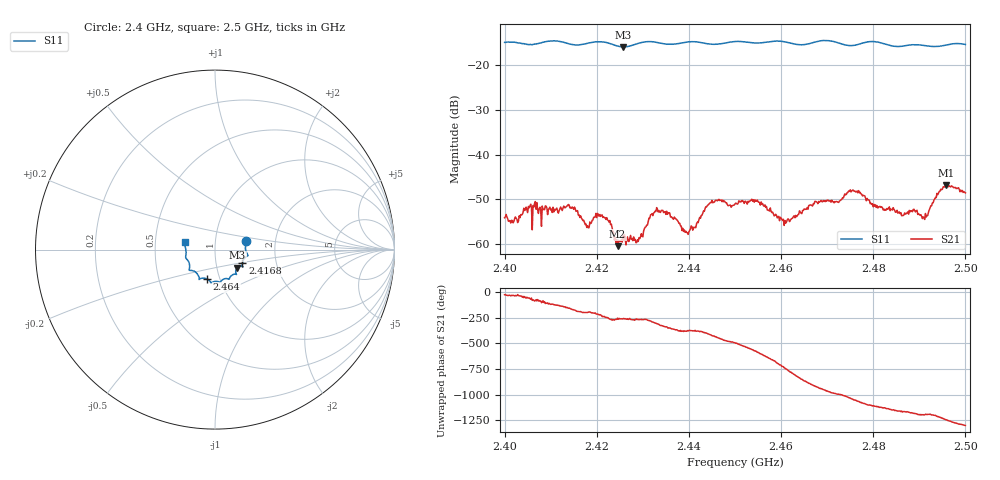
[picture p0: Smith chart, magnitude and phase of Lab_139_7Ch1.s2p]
# Hz S RI R 50
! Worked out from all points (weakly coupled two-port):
!   601 points, 2.4 GHz to 2.5 GHz, reference 50 ohm
!   highest |S21| = -46.77 dB at 2.4958 GHz (marker M1); lowest = -60.5 dB at 2.4245 GHz (marker M2)
!   lowest |S11| = -15.9 dB at 2.4257 GHz (marker M3), VSWR 1.38, Z = 62.6 - j13 ohm
!   |S11| at or under -10 dB: start of sweep to end of sweep
!   S12 and S22 are empty: the file has one direction only
!   S11 on the Smith chart (normalised r, x): 2.4 GHz: 1.41, +0.15; 2.4168 GHz: 1.34, -0.21; 2.464 GHz: 0.87, -0.29; 2.5 GHz: 0.71, +0.06
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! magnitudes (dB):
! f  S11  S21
! 2.4 GHz  -14.9  -54.1
! 2.4067 GHz  -15.3  -50.5
! 2.4142 GHz  -15.3  -51.9
! 2.4167 GHz  -15.4  -54.2
! 2.4168 GHz  -15.4  -54.5
! 2.4217 GHz  -14.9  -54.1
! 2.4245 GHz  -15.7  -60.5
! 2.4257 GHz  -15.9  -58.1
! 2.429 GHz  -15.1  -59.4
! 2.4333 GHz  -15.0  -52.8
! 2.4397 GHz  -14.8  -57.5
! 2.4445 GHz  -15.3  -50.9
! 2.45 GHz  -14.7  -51.0
! 2.4548 GHz  -15.1  -50.1
! 2.4607 GHz  -14.8  -55.8
! 2.464 GHz  -15.4  -52.6
! 2.4667 GHz  -15.0  -51.4
! 2.4755 GHz  -15.6  -47.9
! 2.4833 GHz  -15.5  -52.0
! 2.4912 GHz  -15.6  -54.5
! 2.4958 GHz  -15.5  -46.8
! 2.5 GHz  -15.4  -48.5
